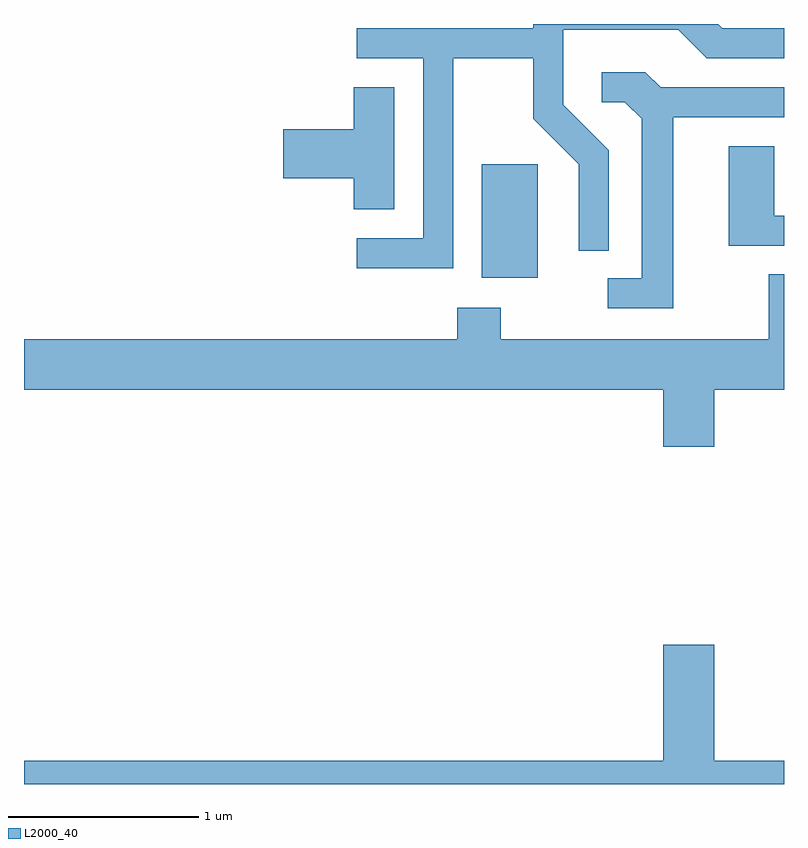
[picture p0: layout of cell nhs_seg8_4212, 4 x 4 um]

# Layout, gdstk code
import gdstk
lib = gdstk.Library(unit=1e-6, precision=1e-09)
def R(c, l, rs):  # rectangles x0, y0, x1, y1
    for r in rs: c.add(gdstk.rectangle(r[:2], r[2:], *l))
def P(c, l, *ps):  # polygons
    for p in ps: c.add(gdstk.Polygon(p, *l))
L2000_40 = (2000, 40)

nhs_seg8_4212 = lib.new_cell('nhs_seg8_4212')
R(nhs_seg8_4212, L2000_40, [(314.021,1837.006,314.314,1837.604)])
P(nhs_seg8_4212, L2000_40, [(313.869,1838.161),(314.291,1838.161),(314.291,1837.844),(314.531,1837.604),(314.531,1837.148),(314.689,1837.148),(314.689,1837.677),(314.449,1837.917),(314.449,1838.311),(315.054,1838.311),(315.204,1838.161),(315.611,1838.161),(315.611,1838.319),(315.287,1838.319),(315.264,1838.342),(314.291,1838.342),(314.291,1838.319),(313.363,1838.319),(313.363,1838.161),(313.711,1838.161),(313.711,1837.214),(313.363,1837.214),(313.363,1837.056),(313.869,1837.056)],
  [(315.029,1837.851),(315.611,1837.851),(315.611,1838.009),(314.962,1838.009),(314.882,1838.089),(314.653,1838.089),(314.653,1837.931),(314.774,1837.931),(314.861,1837.844),(314.861,1837.004),(314.683,1837.004),(314.683,1836.846),(315.029,1836.846)],
  [(313.559,1838.009),(313.346,1838.009),(313.346,1837.789),(312.976,1837.789),(312.976,1837.531),(313.346,1837.531),(313.346,1837.366),(313.559,1837.366)],
  [(315.611,1837.334),(315.559,1837.334),(315.559,1837.699),(315.321,1837.699),(315.321,1837.176),(315.611,1837.176)],
  [(315.244,1836.416),(315.611,1836.416),(315.611,1837.024),(315.531,1837.024),(315.531,1836.684),(314.119,1836.684),(314.119,1836.849),(313.891,1836.849),(313.891,1836.684),(311.611,1836.684),(311.611,1836.416),(314.976,1836.416),(314.976,1836.116),(315.244,1836.116)],
  [(315.611,1834.464),(315.244,1834.464),(315.244,1835.074),(314.976,1835.074),(314.976,1834.464),(311.611,1834.464),(311.611,1834.342),(315.611,1834.342)])

lib.write_gds('nhs_seg8_4212.gds')
